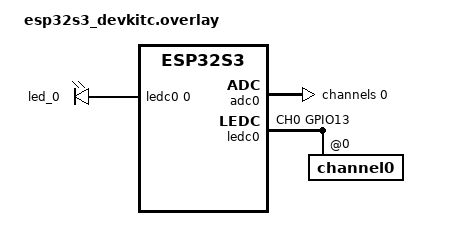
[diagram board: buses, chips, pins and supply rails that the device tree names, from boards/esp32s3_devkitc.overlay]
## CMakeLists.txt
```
cmake_minimum_required(VERSION 3.22.0)

find_package(Zephyr REQUIRED HINTS $ENV{ZEPHYR_BASE})
project(adc_demo)

target_sources(app PRIVATE src/main.c)
```

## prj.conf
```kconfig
CONFIG_ADC=y
CONFIG_PWM=y
```

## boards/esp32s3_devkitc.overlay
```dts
// Define PWM_POLARITY_NORMAL
#include <zephyr/dt-bindings/pwm/pwm.h>

/ {
	aliases {
		my-adc = &adc0;
		my-adc-channel = &adc0_ch0;
		led-0 = &led_0;
	};

	// User-defined node for configuring "pwm-leds" subnodes
	// <{LED controller node}, channel, period, flags>
	my-pwm-leds {
		compatible = "pwm-leds";
		led_0: pwm_led_0 {
			    pwms = <&ledc0 0 1000 PWM_POLARITY_NORMAL>;
		};
	};
};

// ADC1 (adc0) channel 0 is connected to GPIO1
&adc0 {
	status = "okay";
    #address-cells = <1>;
	#size-cells = <0>;
    
	adc0_ch0: channel@0 {
		reg = <0>;
		zephyr,gain = "ADC_GAIN_1_4";
		zephyr,reference = "ADC_REF_INTERNAL";
		zephyr,vref-mv = <3900>;
		zephyr,acquisition-time = <ADC_ACQ_TIME_DEFAULT>;
		zephyr,resolution = <12>;
	};
};

// Modify ledc0 node (defined in esp32s3_common.dtsi) to connect LED PWM
// controller to pinmux group
&ledc0 {
    pinctrl-0 = <&ledctrl_0>;
	pinctrl-names = "default";
    status = "okay";
	#address-cells = <1>;
	#size-cells = <0>;
	
	// Configure channel 0
	channel0@0 {
	    reg = <0x0>;
		timer = <0>;
	};
};
 
// Modify pinctrl node (defined in esp32s3_common.dtsi) to assign GPIO13 to
// the LED controller channel 0
&pinctrl {
        ledctrl_0: led-0 {
	        group1 {
		        pinmux = <LEDC_CH0_GPIO13>;
			output-enable;
		};
	};
};
```

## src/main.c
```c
#include <stdio.h>
#include <zephyr/kernel.h>
#include <zephyr/drivers/pwm.h>
#include <zephyr/drivers/adc.h>

// Settings
static const int32_t sleep_time_ms = 10;

// Get Devicetree configurations
#define MY_ADC_CH DT_ALIAS(my_adc_channel)
static const struct device *adc = DEVICE_DT_GET(DT_ALIAS(my_adc));
static const struct adc_channel_cfg adc_ch = ADC_CHANNEL_CFG_DT(MY_ADC_CH);
static const struct pwm_dt_spec pwm_led = PWM_DT_SPEC_GET(DT_ALIAS(led_0));

int main(void)
{
	int ret;
	uint16_t buf;
	int32_t vref_mv;
	uint32_t pulse_ns;

	// Get Vref (mV) from Devicetree property
	vref_mv = DT_PROP(MY_ADC_CH, zephyr_vref_mv);

	// Buffer and options for ADC (defined in adc.h)
	struct adc_sequence seq = {
		.channels = BIT(adc_ch.channel_id),
		.buffer = &buf,
		.buffer_size = sizeof(buf),
		.resolution = DT_PROP(MY_ADC_CH, zephyr_resolution)
	};

	// Make sure that the ADC was initialized
	if (!device_is_ready(adc)) {
		printk("ADC peripheral is not ready\r\n");
		return 0;
	}

	// Make sure that the PWM LED was initialized
	if (!pwm_is_ready_dt(&pwm_led)) {
		printk("PWM is not ready\r\n");
		return 0;
	}

	// Configure ADC channel
	ret = adc_channel_setup(adc, &adc_ch);
	if (ret < 0) {
		printk("Could not set up ADC\r\n");
		return 0;
	}

	// Do forever
	while (1) {

		// Sample ADC
		ret = adc_read(adc, &seq);
		if (ret < 0) {
			printk("Could not read ADC: %d\r\n", ret);
			continue;
		}

		// Calculate pulse width
		pulse_ns = pwm_led.period / ((1 << seq.resolution) / (float)buf);
		printk("Pulse: %u ns\r\n", pulse_ns);

		// Set LED PWM pulse width
		ret = pwm_set_dt(&pwm_led, pwm_led.period, pulse_ns);
		if (ret) {
			printk("Error %d: failed to set pulse width\n", ret);
			return 0;
		}

		// Sleep
		k_msleep(sleep_time_ms);
	}

	return 0;
}
```
